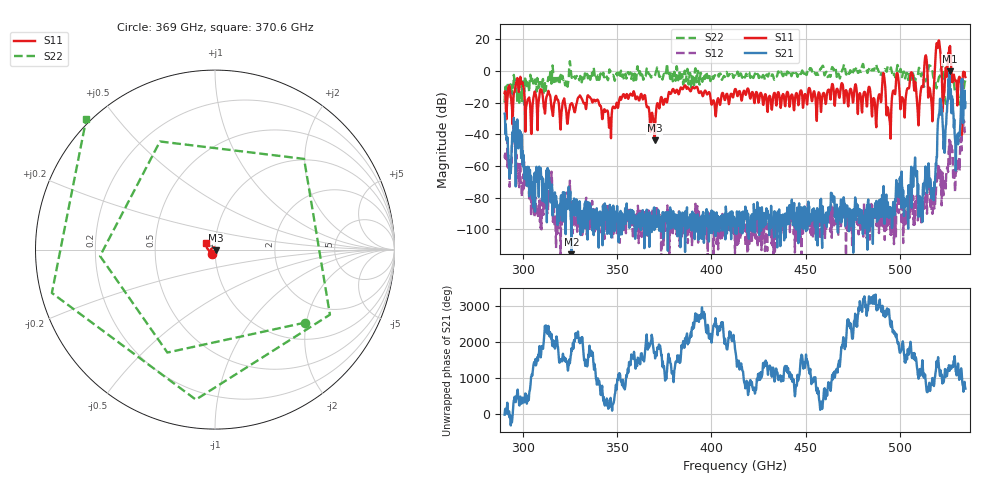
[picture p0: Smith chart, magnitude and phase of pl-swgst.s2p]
!Created with skrf (http://scikit-rf.org).
# GHz S RI R 50.0
!freq ReS11 ImS11 ReS21 ImS21 ReS12 ImS12 ReS22 ImS22
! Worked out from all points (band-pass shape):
!   1201 points, 290 GHz to 535 GHz, reference 50 ohm
!   highest |S21| = -0.32 dB at 526.6 GHz (marker M1); lowest = -119.4 dB at 325.5 GHz (marker M2)
!   |S21| within 3 dB of the highest: 526.5681 GHz to 526.6674 GHz (99.33 MHz wide, 0.0189 % of centre)
!   lowest |S11| = -43.9 dB at 369.8 GHz (marker M3), VSWR 1.01, Z = 50.5 - j0.415 ohm
!   |S11| at or under -10 dB: 300 GHz to 385.4 GHz (85.39 GHz wide, 24.9 % of centre); 386.4 GHz to 463.9 GHz (77.43 GHz wide, 18.2 % of centre); 476.9 GHz to 490.7 GHz (13.76 GHz wide, 2.84 % of centre)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
!   |S22| runs from -23.5 to 6.2 dB; largest |S21 - S12| = 0.97
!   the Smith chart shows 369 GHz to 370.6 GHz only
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290  -0.0158 0.2  0.0383 -0.0227  0.00152 -0.0017  0.0292 0.0953
304.2917  -0.00496 -0.00891  0.000109 -7.36e-05  0.000113 2.98e-05  0.3013 -0.4528
325.525  0.0932 0.0186  9.67e-07 4.55e-07  2.42e-05 -2.02e-05  -0.1064 -0.6795
331.0375  0.0931 0.0951  -8.7e-06 -1.24e-05  -5.12e-06 -8.99e-06  0.3189 -0.297
369.8292  0.00485 -0.00411  7.36e-06 -4.64e-05  1.27e-05 1.93e-05  0.4964 0.5054
371.6667  0.0777 0.038  3.59e-05 1.92e-05  -3.51e-06 1.55e-05  -0.809 -0.6622
412.5  0.1994 -0.1733  7.34e-06 1.84e-06  5.72e-07 -1.65e-06  0.3768 0.6031
453.5375  0.1099 -0.015  -3.07e-05 -2.14e-05  -1.08e-05 -1.38e-05  -0.2461 0.9387
491.5125  0.791 0.2282  -0.000205 -0.000106  3.53e-05 -2.74e-05  0.7229 0.0633
494.1667  -0.0452 -0.0132  3.36e-05 1.62e-05  1.76e-05 3.35e-05  -1.127 0.721
498.6583  0.8653 0.0164  -1.38e-05 -0.000244  0.000101 1.41e-05  0.6046 -1.138
511.3167  -0.2362 -0.0673  4.08e-05 9.01e-05  9.79e-06 -2.26e-05  0.7127 0.0874
514.5833  1.588 0.4134  -6.7e-05 -0.000121  -2.77e-05 1.29e-05  -0.5883 -0.1043
516.625  -0.1054 -0.116  4.17e-05 0.00026  -8.44e-06 8.87e-05  -1.189 0.616
518.6667  0.6617 -0.6119  6.82e-05 -0.000201  0.000194 2.37e-05  0.021 -0.497
519.075  0.8255 -2.391  0.000348 0.000577  6.44e-05 -0.000118  -0.405 0.1748
521.3208  -4.714 4.42  0.0441 0.0453  0.000117 -0.000382  0.3595 -0.5418
521.7292  -1.118 3.513  -0.0305 0.0285  -0.000294 0.000355  -0.8493 -0.2841
523.1583  0.062 0.1015  -0.0112 0.00474  -0.000159 -0.000237  0.6915 -0.2416
526.6292  -3.809 -0.076  -0.4362 0.8596  -0.00252 -0.00276  0.1574 0.2156
530.3042  -0.1623 -0.3879  0.0061 -0.00115  -8.89e-05 -0.00114  0.0339 -0.2099
535  -0.237 0.5921  0.0936 -0.0374  -0.00381 -0.0104  0.4963 0.1424
